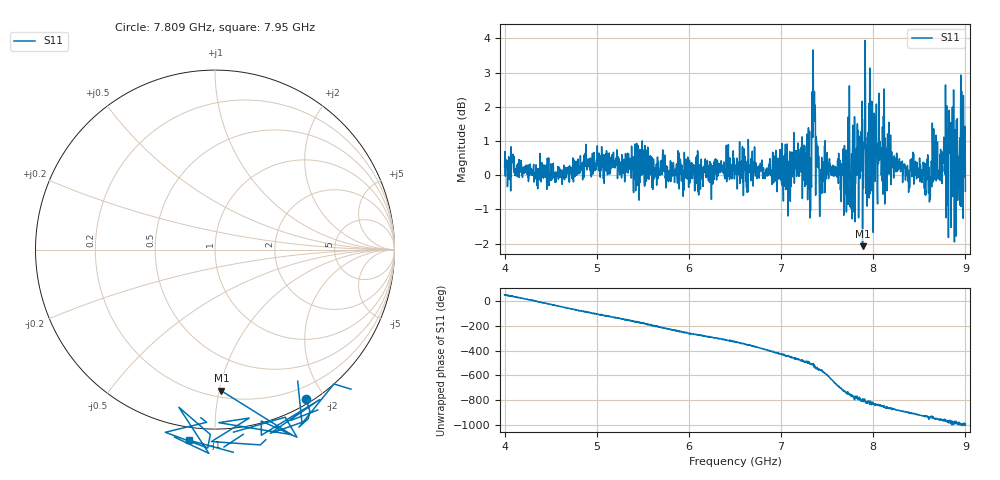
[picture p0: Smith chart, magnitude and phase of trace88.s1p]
! Created with skrf 1.8.0 (http://scikit-rf.org).
# Hz S RI R 50.0
!freq ReS11 ImS11
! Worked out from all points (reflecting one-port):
!   1601 points, 4 GHz to 9 GHz, reference 50 ohm
!   lowest |S11| = -2.1 dB at 7.884 GHz (marker M1), VSWR 8.41, Z = 12.3 - j50.8 ohm
!   phase of S11 starts at 51 deg and turns -1042 deg over the sweep
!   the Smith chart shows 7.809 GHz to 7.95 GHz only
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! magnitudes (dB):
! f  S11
! 4 GHz  0.2
! 4.625 GHz  -0.3
! 5.25 GHz  0.0
! 5.875 GHz  -0.2
! 6.5 GHz  0.2
! 7.125 GHz  0.1
! 7.306 GHz  0.7
! 7.359 GHz  2.1
! 7.4 GHz  0.3
! 7.441 GHz  0.5
! 7.503 GHz  0.3
! 7.75 GHz  -0.9
! 7.775 GHz  0.7
! 7.884 GHz  -2.1
! 7.928 GHz  0.9
! 7.944 GHz  1.2
! 7.962 GHz  3.1
! 8.025 GHz  0.9
! 8.134 GHz  0.1
! 8.375 GHz  0.0
! 8.428 GHz  0.4
! 8.612 GHz  -0.8
! 8.656 GHz  1.4
! 8.728 GHz  -0.2
! 8.847 GHz  1.3
! 8.906 GHz  0.9
! 8.972 GHz  0.8
! 9 GHz  -0.5
